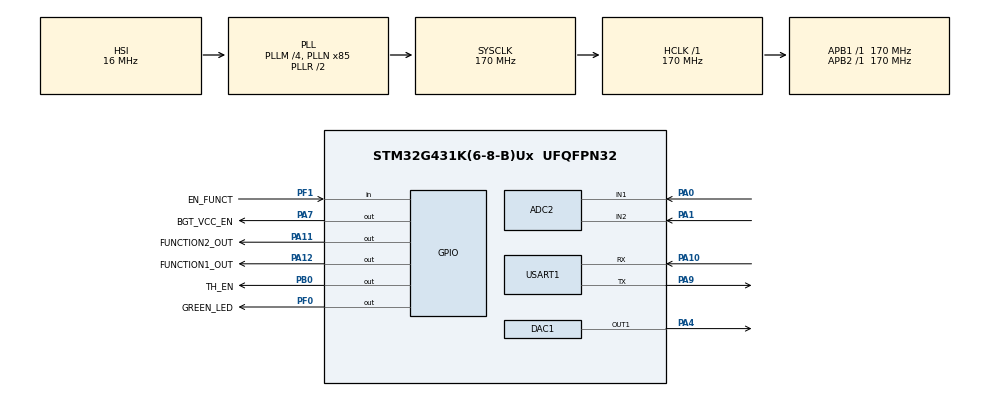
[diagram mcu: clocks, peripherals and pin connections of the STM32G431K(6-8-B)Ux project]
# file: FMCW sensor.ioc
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ADC2.Channel-0\#ChannelRegularConversion=ADC_CHANNEL_1
ADC2.Channel-1\#ChannelRegularConversion=ADC_CHANNEL_2
ADC2.ExternalTrigConv=ADC_EXTERNALTRIG_T7_TRGO
ADC2.NbrOfConversion=2
ADC2.NbrOfConversionFlag=1
ADC2.OffsetNumber-0\#ChannelRegularConversion=ADC_OFFSET_NONE
ADC2.OffsetNumber-1\#ChannelRegularConversion=ADC_OFFSET_NONE
ADC2.Rank-0\#ChannelRegularConversion=1
ADC2.Rank-1\#ChannelRegularConversion=2
ADC2.SamplingTime-0\#ChannelRegularConversion=ADC_SAMPLETIME_2CYCLES_5
ADC2.SamplingTime-1\#ChannelRegularConversion=ADC_SAMPLETIME_2CYCLES_5
DAC1.DAC_Trigger_OUT1-DAC_OUT1=DAC_TRIGGER_T6_TRGO
Dma.ADC2.1.Direction=DMA_PERIPH_TO_MEMORY
Dma.ADC2.1.EventEnable=DISABLE
Dma.ADC2.1.Instance=DMA1_Channel2
Dma.ADC2.1.MemDataAlignment=DMA_MDATAALIGN_HALFWORD
Dma.ADC2.1.MemInc=DMA_MINC_ENABLE
Dma.ADC2.1.Mode=DMA_CIRCULAR
Dma.ADC2.1.PeriphDataAlignment=DMA_PDATAALIGN_HALFWORD
Dma.ADC2.1.PeriphInc=DMA_PINC_DISABLE
Dma.ADC2.1.Polarity=HAL_DMAMUX_REQ_GEN_RISING
Dma.ADC2.1.Priority=DMA_PRIORITY_LOW
Dma.ADC2.1.RequestNumber=1
Dma.ADC2.1.SignalID=NONE
Dma.ADC2.1.SyncEnable=DISABLE
Dma.ADC2.1.SyncPolarity=HAL_DMAMUX_SYNC_NO_EVENT
Dma.ADC2.1.SyncRequestNumber=1
Dma.ADC2.1.SyncSignalID=NONE
Dma.DAC1_CH1.0.Direction=DMA_MEMORY_TO_PERIPH
Dma.DAC1_CH1.0.EventEnable=DISABLE
Dma.DAC1_CH1.0.Instance=DMA1_Channel1
Dma.DAC1_CH1.0.MemDataAlignment=DMA_MDATAALIGN_WORD
Dma.DAC1_CH1.0.MemInc=DMA_MINC_ENABLE
Dma.DAC1_CH1.0.Mode=DMA_CIRCULAR
Dma.DAC1_CH1.0.PeriphDataAlignment=DMA_PDATAALIGN_WORD
Dma.DAC1_CH1.0.PeriphInc=DMA_PINC_DISABLE
Dma.DAC1_CH1.0.Polarity=HAL_DMAMUX_REQ_GEN_RISING
Dma.DAC1_CH1.0.Priority=DMA_PRIORITY_LOW
Dma.DAC1_CH1.0.RequestNumber=1
Dma.DAC1_CH1.0.SignalID=NONE
Dma.DAC1_CH1.0.SyncEnable=DISABLE
Dma.DAC1_CH1.0.SyncPolarity=HAL_DMAMUX_SYNC_NO_EVENT
Dma.DAC1_CH1.0.SyncRequestNumber=1
Dma.DAC1_CH1.0.SyncSignalID=NONE
Dma.Request0=DAC1_CH1
Dma.Request1=ADC2
Mcu.Family=STM32G4
Mcu.Name=STM32G431K(6-8-B)Ux
Mcu.Package=UFQFPN32
NVIC.DMA1_Channel1_IRQn=true\:0\:0\:false\:false\:true\:false\:true\:true
NVIC.DMA1_Channel2_IRQn=true\:0\:0\:false\:false\:true\:false\:true\:true
NVIC.PriorityGroup=NVIC_PRIORITYGROUP_4
NVIC.TIM1_CC_IRQn=true\:0\:0\:false\:false\:true\:true\:true\:true
PA0.Mode=IN1-Single-Ended
PA0.Signal=ADC2_IN1
PA1.Mode=IN2-Single-Ended
PA1.Signal=ADC2_IN2
PA10.Mode=Asynchronous
PA10.Signal=USART1_RX
PA11.GPIO_Label=FUNCTION2_OUT
PA11.Signal=GPIO_Output
PA12.GPIO_Label=FUNCTION1_OUT
PA12.Signal=GPIO_Output
PA13.Mode=Trace_Asynchronous_SW
PA13.Signal=SYS_JTMS-SWDIO
PA14.Mode=Trace_Asynchronous_SW
PA14.Signal=SYS_JTCK-SWCLK
PA4.Signal=COMP_DAC11_group
PA7.GPIO_Label=BGT_VCC_EN
PA7.PinState=GPIO_PIN_SET
PA7.Signal=GPIO_Output
PA9.Mode=Asynchronous
PA9.Signal=USART1_TX
PB0.GPIO_Label=TH_EN
PB0.Signal=GPIO_Output
PB3.Mode=Trace_Asynchronous_SW
PB3.Signal=SYS_JTDO-SWO
PF0-OSC_IN.GPIO_Label=GREEN_LED
PF0-OSC_IN.Signal=GPIO_Output
PF1-OSC_OUT.GPIO_Label=EN_FUNCT
PF1-OSC_OUT.Signal=GPIO_Input
ProjectManager.HeapSize=0x200
ProjectManager.StackSize=0x400
ProjectManager.TargetToolchain=STM32CubeIDE
RCC.ADC12Freq_Value=170000000
RCC.AHBFreq_Value=170000000
RCC.APB1Freq_Value=170000000
RCC.APB1TimFreq_Value=170000000
RCC.APB2Freq_Value=170000000
RCC.APB2TimFreq_Value=170000000
RCC.CortexFreq_Value=170000000
RCC.EXTERNAL_CLOCK_VALUE=12288000
RCC.HCLKFreq_Value=170000000
RCC.HSE_VALUE=8000000
RCC.HSI48_VALUE=48000000
RCC.HSI_VALUE=16000000
RCC.LSE_VALUE=32768
RCC.PLLM=RCC_PLLM_DIV4
RCC.PLLN=85
RCC.SYSCLKFreq_VALUE=170000000
RCC.SYSCLKSource=RCC_SYSCLKSOURCE_PLLCLK
RCC.USBFreq_Value=170000000
RCC.VCOOutputFreq_Value=340000000
SH.COMP_DAC11_group.0=DAC1_OUT1,DAC_OUT1
TIM1.Channel-PWM\ Generation1\ No\ Output=TIM_CHANNEL_1
TIM1.Channel-PWM\ Generation2\ No\ Output=TIM_CHANNEL_2
TIM1.PeriodNoDither=500
TIM1.Prescaler=169
TIM1.PulseNoDither_1=20
TIM1.PulseNoDither_2=100
TIM6.PeriodNoDither=2
TIM6.Prescaler=84
TIM6.TIM_MasterOutputTrigger=TIM_TRGO_UPDATE
TIM7.PeriodNoDither=2
TIM7.Prescaler=84
TIM7.TIM_MasterOutputTrigger=TIM_TRGO_UPDATE
USART1.VirtualMode-Asynchronous=VM_ASYNC
VP_SYS_VS_DBSignals.Mode=DisableDeadBatterySignals
VP_TIM1_VS_ClockSourceINT.Mode=Internal
VP_TIM1_VS_no_output1.Mode=PWM Generation1 No Output
VP_TIM1_VS_no_output2.Mode=PWM Generation2 No Output
VP_TIM6_VS_ClockSourceINT.Mode=Enable_Timer
VP_TIM7_VS_ClockSourceINT.Mode=Enable_Timer
board=custom

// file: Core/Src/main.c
/* USER CODE BEGIN Header */
/**
  ******************************************************************************
  * @file           : main.c
  * @brief          : Main program body
  ******************************************************************************
  * @attention
  *
  * Copyright (c) 2024 STMicroelectronics.
  * All rights reserved.
  *
  * This software is licensed under terms that can be found in the LICENSE file
  * in the root directory of this software component.
  * If no LICENSE file comes with this software, it is provided AS-IS.
  *
  ******************************************************************************
  */
/* USER CODE END Header */
#include "main.h"

/* USER CODE BEGIN Includes */

#define ARM_MATH_CM4 //Core we're operating on
#include "arm_math.h"

/* USER CODE END Includes */

/* USER CODE BEGIN PM */

#define DAC_BUFFER_LEN 		 				 128  // DAC_BUFFLEN in micro seconds                             200
#define DAC_SLOPE_VALUE 	 				   30  //                                                         //1
#define DAC_SLOPE_START_VALUE				450	  //(DAC_SLOPE_START_VALUE+DAC_BUFFLEN*DAC_SLOPE_VALUE)<4096  //850
#define ADC_SAMPLES							128

/* USER CODE END PM */

ADC_HandleTypeDef hadc2;
DMA_HandleTypeDef hdma_adc2;

DAC_HandleTypeDef hdac1;
DMA_HandleTypeDef hdma_dac1_ch1;

TIM_HandleTypeDef htim1;
TIM_HandleTypeDef htim6;
TIM_HandleTypeDef htim7;

UART_HandleTypeDef huart1;

/* USER CODE BEGIN PV */

uint8_t fftFlag = 0; //Flag for when the transformation is complete
uint8_t do_fft = 0; //Flag for when ADC has new data for us to read

volatile uint32_t dac_data[DAC_BUFFER_LEN]; //Values for different voltages in the slope of the sawtooth voltage
volatile uint16_t adcBuffer[ADC_SAMPLES + 16]; //Array of ADC data

/* USER CODE END PV */

void SystemClock_Config(void);
static void MX_GPIO_Init(void);
static void MX_DMA_Init(void);
static void MX_ADC2_Init(void);
static void MX_DAC1_Init(void);
static void MX_USART1_UART_Init(void);
static void MX_TIM1_Init(void);
static void MX_TIM6_Init(void);
static void MX_TIM7_Init(void);
/* USER CODE BEGIN PFP */

void DAC_Slope_Init(void);  //Creates an array of steps to use later for the sawtooth voltage

/* USER CODE END PFP */

int main(void)
{

  /* MCU Configuration--------------------------------------------------------*/

  /* Reset of all peripherals, Initializes the Flash interface and the Systick. */
  HAL_Init();

  /* Configure the system clock */
  SystemClock_Config();

  /* Initialize all configured peripherals */
  MX_GPIO_Init();
  MX_DMA_Init();
  MX_ADC2_Init();
  MX_DAC1_Init();
  MX_USART1_UART_Init();
  MX_TIM1_Init();
  MX_TIM6_Init();
  MX_TIM7_Init();
  /* USER CODE BEGIN 2 */
  for(int16_t i; i < DAC_BUFFER_LEN; i++){
    			dac_data[i] = DAC_SLOPE_START_VALUE + i * DAC_SLOPE_VALUE;
   }
  HAL_TIM_PWM_Start_IT(&htim1, TIM_CHANNEL_1); //Impulse for DAC sawtooth voltage
  HAL_TIM_PWM_Start_IT(&htim1, TIM_CHANNEL_2); //Impulse for ADC read
  //HAL_TIM_Base_Start(&htim6); //start DAC
  HAL_GPIO_WritePin(BGT_VCC_EN_GPIO_Port, BGT_VCC_EN_Pin, RESET);
  HAL_GPIO_WritePin(TH_EN_GPIO_Port, TH_EN_Pin, SET);
  HAL_DAC_Start_DMA(&hdac1, DAC_CHANNEL_1, (uint32_t *)dac_data, DAC_BUFFER_LEN, DAC_ALIGN_12B_R);
  /* USER CODE END 2 */

  /* Infinite loop */
  /* USER CODE BEGIN WHILE */
  while (1)
  {

	  HAL_Delay(10);
    /* USER CODE END WHILE */

  }
}

void SystemClock_Config(void)
{
  RCC_OscInitTypeDef RCC_OscInitStruct = {0};
  RCC_ClkInitTypeDef RCC_ClkInitStruct = {0};

  /** Configure the main internal regulator output voltage
  */
  HAL_PWREx_ControlVoltageScaling(PWR_REGULATOR_VOLTAGE_SCALE1_BOOST);

  /** Initializes the RCC Oscillators according to the specified parameters
  * in the RCC_OscInitTypeDef structure.
  */
  RCC_OscInitStruct.OscillatorType = RCC_OSCILLATORTYPE_HSI;
  RCC_OscInitStruct.HSIState = RCC_HSI_ON;
  RCC_OscInitStruct.HSICalibrationValue = RCC_HSICALIBRATION_DEFAULT;
  RCC_OscInitStruct.PLL.PLLState = RCC_PLL_ON;
  RCC_OscInitStruct.PLL.PLLSource = RCC_PLLSOURCE_HSI;
  RCC_OscInitStruct.PLL.PLLM = RCC_PLLM_DIV4;
  RCC_OscInitStruct.PLL.PLLN = 85;
  RCC_OscInitStruct.PLL.PLLP = RCC_PLLP_DIV2;
  RCC_OscInitStruct.PLL.PLLQ = RCC_PLLQ_DIV2;
  RCC_OscInitStruct.PLL.PLLR = RCC_PLLR_DIV2;
  if (HAL_RCC_OscConfig(&RCC_OscInitStruct) != HAL_OK)
  {
    Error_Handler();
  }

  /** Initializes the CPU, AHB and APB buses clocks
  */
  RCC_ClkInitStruct.ClockType = RCC_CLOCKTYPE_HCLK|RCC_CLOCKTYPE_SYSCLK
                              |RCC_CLOCKTYPE_PCLK1|RCC_CLOCKTYPE_PCLK2;
  RCC_ClkInitStruct.SYSCLKSource = RCC_SYSCLKSOURCE_PLLCLK;
  RCC_ClkInitStruct.AHBCLKDivider = RCC_SYSCLK_DIV1;
  RCC_ClkInitStruct.APB1CLKDivider = RCC_HCLK_DIV1;
  RCC_ClkInitStruct.APB2CLKDivider = RCC_HCLK_DIV1;

  if (HAL_RCC_ClockConfig(&RCC_ClkInitStruct, FLASH_LATENCY_4) != HAL_OK)
  {
    Error_Handler();
  }
}

static void MX_ADC2_Init(void)
{

  ADC_ChannelConfTypeDef sConfig = {0};

  /** Common config
  */
  hadc2.Instance = ADC2;
  hadc2.Init.ClockPrescaler = ADC_CLOCK_SYNC_PCLK_DIV4;
  hadc2.Init.Resolution = ADC_RESOLUTION_12B;
  hadc2.Init.DataAlign = ADC_DATAALIGN_RIGHT;
  hadc2.Init.GainCompensation = 0;
  hadc2.Init.ScanConvMode = ADC_SCAN_ENABLE;
  hadc2.Init.EOCSelection = ADC_EOC_SINGLE_CONV;
  hadc2.Init.LowPowerAutoWait = DISABLE;
  hadc2.Init.ContinuousConvMode = DISABLE;
  hadc2.Init.NbrOfConversion = 2;
  hadc2.Init.DiscontinuousConvMode = DISABLE;
  hadc2.Init.ExternalTrigConv = ADC_EXTERNALTRIG_T7_TRGO;
  hadc2.Init.ExternalTrigConvEdge = ADC_EXTERNALTRIGCONVEDGE_RISING;
  hadc2.Init.DMAContinuousRequests = DISABLE;
  hadc2.Init.Overrun = ADC_OVR_DATA_PRESERVED;
  hadc2.Init.OversamplingMode = DISABLE;
  if (HAL_ADC_Init(&hadc2) != HAL_OK)
  {
    Error_Handler();
  }

  /** Configure Regular Channel
  */
  sConfig.Channel = ADC_CHANNEL_1;
  sConfig.Rank = ADC_REGULAR_RANK_1;
  sConfig.SamplingTime = ADC_SAMPLETIME_2CYCLES_5;
  sConfig.SingleDiff = ADC_SINGLE_ENDED;
  sConfig.OffsetNumber = ADC_OFFSET_NONE;
  sConfig.Offset = 0;
  if (HAL_ADC_ConfigChannel(&hadc2, &sConfig) != HAL_OK)
  {
    Error_Handler();
  }

  /** Configure Regular Channel
  */
  sConfig.Channel = ADC_CHANNEL_2;
  sConfig.Rank = ADC_REGULAR_RANK_2;
  if (HAL_ADC_ConfigChannel(&hadc2, &sConfig) != HAL_OK)
  {
    Error_Handler();
  }

}

static void MX_DAC1_Init(void)
{

  DAC_ChannelConfTypeDef sConfig = {0};

  /** DAC Initialization
  */
  hdac1.Instance = DAC1;
  if (HAL_DAC_Init(&hdac1) != HAL_OK)
  {
    Error_Handler();
  }

  /** DAC channel OUT1 config
  */
  sConfig.DAC_HighFrequency = DAC_HIGH_FREQUENCY_INTERFACE_MODE_AUTOMATIC;
  sConfig.DAC_DMADoubleDataMode = DISABLE;
  sConfig.DAC_SignedFormat = DISABLE;
  sConfig.DAC_SampleAndHold = DAC_SAMPLEANDHOLD_DISABLE;
  sConfig.DAC_Trigger = DAC_TRIGGER_T6_TRGO;
  sConfig.DAC_Trigger2 = DAC_TRIGGER_NONE;
  sConfig.DAC_OutputBuffer = DAC_OUTPUTBUFFER_ENABLE;
  sConfig.DAC_ConnectOnChipPeripheral = DAC_CHIPCONNECT_EXTERNAL;
  sConfig.DAC_UserTrimming = DAC_TRIMMING_FACTORY;
  if (HAL_DAC_ConfigChannel(&hdac1, &sConfig, DAC_CHANNEL_1) != HAL_OK)
  {
    Error_Handler();
  }

}

static void MX_TIM1_Init(void)
{

  TIM_ClockConfigTypeDef sClockSourceConfig = {0};
  TIM_MasterConfigTypeDef sMasterConfig = {0};
  TIM_OC_InitTypeDef sConfigOC = {0};
  TIM_BreakDeadTimeConfigTypeDef sBreakDeadTimeConfig = {0};

  htim1.Instance = TIM1;
  htim1.Init.Prescaler = 169;
  htim1.Init.CounterMode = TIM_COUNTERMODE_UP;
  htim1.Init.Period = 500;
  htim1.Init.ClockDivision = TIM_CLOCKDIVISION_DIV1;
  htim1.Init.RepetitionCounter = 0;
  htim1.Init.AutoReloadPreload = TIM_AUTORELOAD_PRELOAD_DISABLE;
  if (HAL_TIM_Base_Init(&htim1) != HAL_OK)
  {
    Error_Handler();
  }
  sClockSourceConfig.ClockSource = TIM_CLOCKSOURCE_INTERNAL;
  if (HAL_TIM_ConfigClockSource(&htim1, &sClockSourceConfig) != HAL_OK)
  {
    Error_Handler();
  }
  if (HAL_TIM_PWM_Init(&htim1) != HAL_OK)
  {
    Error_Handler();
  }
  sMasterConfig.MasterOutputTrigger = TIM_TRGO_RESET;
  sMasterConfig.MasterOutputTrigger2 = TIM_TRGO2_RESET;
  sMasterConfig.MasterSlaveMode = TIM_MASTERSLAVEMODE_DISABLE;
  if (HAL_TIMEx_MasterConfigSynchronization(&htim1, &sMasterConfig) != HAL_OK)
  {
    Error_Handler();
  }
  sConfigOC.OCMode = TIM_OCMODE_PWM1;
  sConfigOC.Pulse = 20;
  sConfigOC.OCPolarity = TIM_OCPOLARITY_HIGH;
  sConfigOC.OCNPolarity = TIM_OCNPOLARITY_HIGH;
  sConfigOC.OCFastMode = TIM_OCFAST_DISABLE;
  sConfigOC.OCIdleState = TIM_OCIDLESTATE_RESET;
  sConfigOC.OCNIdleState = TIM_OCNIDLESTATE_RESET;
  if (HAL_TIM_PWM_ConfigChannel(&htim1, &sConfigOC, TIM_CHANNEL_1) != HAL_OK)
  {
    Error_Handler();
  }
  sConfigOC.Pulse = 100;
  if (HAL_TIM_PWM_ConfigChannel(&htim1, &sConfigOC, TIM_CHANNEL_2) != HAL_OK)
  {
    Error_Handler();
  }
  sBreakDeadTimeConfig.OffStateRunMode = TIM_OSSR_DISABLE;
  sBreakDeadTimeConfig.OffStateIDLEMode = TIM_OSSI_DISABLE;
  sBreakDeadTimeConfig.LockLevel = TIM_LOCKLEVEL_OFF;
  sBreakDeadTimeConfig.DeadTime = 0;
  sBreakDeadTimeConfig.BreakState = TIM_BREAK_DISABLE;
  sBreakDeadTimeConfig.BreakPolarity = TIM_BREAKPOLARITY_HIGH;
  sBreakDeadTimeConfig.BreakFilter = 0;
  sBreakDeadTimeConfig.BreakAFMode = TIM_BREAK_AFMODE_INPUT;
  sBreakDeadTimeConfig.Break2State = TIM_BREAK2_DISABLE;
  sBreakDeadTimeConfig.Break2Polarity = TIM_BREAK2POLARITY_HIGH;
  sBreakDeadTimeConfig.Break2Filter = 0;
  sBreakDeadTimeConfig.Break2AFMode = TIM_BREAK_AFMODE_INPUT;
  sBreakDeadTimeConfig.AutomaticOutput = TIM_AUTOMATICOUTPUT_DISABLE;
  if (HAL_TIMEx_ConfigBreakDeadTime(&htim1, &sBreakDeadTimeConfig) != HAL_OK)
  {
    Error_Handler();
  }

}

static void MX_TIM6_Init(void)
{

  TIM_MasterConfigTypeDef sMasterConfig = {0};

  htim6.Instance = TIM6;
  htim6.Init.Prescaler = 84;
  htim6.Init.CounterMode = TIM_COUNTERMODE_UP;
  htim6.Init.Period = 2;
  htim6.Init.AutoReloadPreload = TIM_AUTORELOAD_PRELOAD_DISABLE;
  if (HAL_TIM_Base_Init(&htim6) != HAL_OK)
  {
    Error_Handler();
  }
  sMasterConfig.MasterOutputTrigger = TIM_TRGO_UPDATE;
  sMasterConfig.MasterSlaveMode = TIM_MASTERSLAVEMODE_DISABLE;
  if (HAL_TIMEx_MasterConfigSynchronization(&htim6, &sMasterConfig) != HAL_OK)
  {
    Error_Handler();
  }

}

static void MX_TIM7_Init(void)
{

  TIM_MasterConfigTypeDef sMasterConfig = {0};

  htim7.Instance = TIM7;
  htim7.Init.Prescaler = 84;
  htim7.Init.CounterMode = TIM_COUNTERMODE_UP;
  htim7.Init.Period = 2;
  htim7.Init.AutoReloadPreload = TIM_AUTORELOAD_PRELOAD_DISABLE;
  if (HAL_TIM_Base_Init(&htim7) != HAL_OK)
  {
    Error_Handler();
  }
  sMasterConfig.MasterOutputTrigger = TIM_TRGO_UPDATE;
  sMasterConfig.MasterSlaveMode = TIM_MASTERSLAVEMODE_DISABLE;
  if (HAL_TIMEx_MasterConfigSynchronization(&htim7, &sMasterConfig) != HAL_OK)
  {
    Error_Handler();
  }

}

static void MX_USART1_UART_Init(void)
{

  huart1.Instance = USART1;
  huart1.Init.BaudRate = 115200;
  huart1.Init.WordLength = UART_WORDLENGTH_8B;
  huart1.Init.StopBits = UART_STOPBITS_1;
  huart1.Init.Parity = UART_PARITY_NONE;
  huart1.Init.Mode = UART_MODE_TX_RX;
  huart1.Init.HwFlowCtl = UART_HWCONTROL_NONE;
  huart1.Init.OverSampling = UART_OVERSAMPLING_16;
  huart1.Init.OneBitSampling = UART_ONE_BIT_SAMPLE_DISABLE;
  huart1.Init.ClockPrescaler = UART_PRESCALER_DIV1;
  huart1.AdvancedInit.AdvFeatureInit = UART_ADVFEATURE_NO_INIT;
  if (HAL_UART_Init(&huart1) != HAL_OK)
  {
    Error_Handler();
  }
  if (HAL_UARTEx_SetTxFifoThreshold(&huart1, UART_TXFIFO_THRESHOLD_1_8) != HAL_OK)
  {
    Error_Handler();
  }
  if (HAL_UARTEx_SetRxFifoThreshold(&huart1, UART_RXFIFO_THRESHOLD_1_8) != HAL_OK)
  {
    Error_Handler();
  }
  if (HAL_UARTEx_DisableFifoMode(&huart1) != HAL_OK)
  {
    Error_Handler();
  }

}

static void MX_DMA_Init(void)
{

  /* DMA controller clock enable */
  __HAL_RCC_DMAMUX1_CLK_ENABLE();
  __HAL_RCC_DMA1_CLK_ENABLE();

  /* DMA interrupt init */
  /* DMA1_Channel1_IRQn interrupt configuration */
  HAL_NVIC_SetPriority(DMA1_Channel1_IRQn, 0, 0);
  HAL_NVIC_EnableIRQ(DMA1_Channel1_IRQn);
  /* DMA1_Channel2_IRQn interrupt configuration */
  HAL_NVIC_SetPriority(DMA1_Channel2_IRQn, 0, 0);
  HAL_NVIC_EnableIRQ(DMA1_Channel2_IRQn);

}

static void MX_GPIO_Init(void)
{
  GPIO_InitTypeDef GPIO_InitStruct = {0};

  /* GPIO Ports Clock Enable */
  __HAL_RCC_GPIOF_CLK_ENABLE();
  __HAL_RCC_GPIOA_CLK_ENABLE();
  __HAL_RCC_GPIOB_CLK_ENABLE();

  /*Configure GPIO pin Output Level */
  HAL_GPIO_WritePin(GREEN_LED_GPIO_Port, GREEN_LED_Pin, GPIO_PIN_RESET);

  /*Configure GPIO pin Output Level */
  HAL_GPIO_WritePin(BGT_VCC_EN_GPIO_Port, BGT_VCC_EN_Pin, GPIO_PIN_SET);

  /*Configure GPIO pin Output Level */
  HAL_GPIO_WritePin(TH_EN_GPIO_Port, TH_EN_Pin, GPIO_PIN_RESET);

  /*Configure GPIO pin Output Level */
  HAL_GPIO_WritePin(GPIOA, FUNCTION2_OUT_Pin|FUNCTION1_OUT_Pin, GPIO_PIN_RESET);

  /*Configure GPIO pin : GREEN_LED_Pin */
  GPIO_InitStruct.Pin = GREEN_LED_Pin;
  GPIO_InitStruct.Mode = GPIO_MODE_OUTPUT_PP;
  GPIO_InitStruct.Pull = GPIO_NOPULL;
  GPIO_InitStruct.Speed = GPIO_SPEED_FREQ_LOW;
  HAL_GPIO_Init(GREEN_LED_GPIO_Port, &GPIO_InitStruct);

  /*Configure GPIO pin : EN_FUNCT_Pin */
  GPIO_InitStruct.Pin = EN_FUNCT_Pin;
  GPIO_InitStruct.Mode = GPIO_MODE_INPUT;
  GPIO_InitStruct.Pull = GPIO_NOPULL;
  HAL_GPIO_Init(EN_FUNCT_GPIO_Port, &GPIO_InitStruct);

  /*Configure GPIO pins : BGT_VCC_EN_Pin FUNCTION2_OUT_Pin FUNCTION1_OUT_Pin */
  GPIO_InitStruct.Pin = BGT_VCC_EN_Pin|FUNCTION2_OUT_Pin|FUNCTION1_OUT_Pin;
  GPIO_InitStruct.Mode = GPIO_MODE_OUTPUT_PP;
  GPIO_InitStruct.Pull = GPIO_NOPULL;
  GPIO_InitStruct.Speed = GPIO_SPEED_FREQ_LOW;
  HAL_GPIO_Init(GPIOA, &GPIO_InitStruct);

  /*Configure GPIO pin : TH_EN_Pin */
  GPIO_InitStruct.Pin = TH_EN_Pin;
  GPIO_InitStruct.Mode = GPIO_MODE_OUTPUT_PP;
  GPIO_InitStruct.Pull = GPIO_NOPULL;
  GPIO_InitStruct.Speed = GPIO_SPEED_FREQ_LOW;
  HAL_GPIO_Init(TH_EN_GPIO_Port, &GPIO_InitStruct);

}

/* USER CODE BEGIN 4 */

	void HAL_TIM_PWM_PulseFinishedCallback(TIM_HandleTypeDef *htim1){

		 if(htim1->Channel == HAL_TIM_ACTIVE_CHANNEL_1) // Start generating sawtooth voltage
		 {

			HAL_GPIO_WritePin(GREEN_LED_GPIO_Port, GREEN_LED_Pin, SET); //breakpoint test
			HAL_TIM_Base_Start(&htim6); //start DAC timer

		 }

		 if(htim1->Channel == HAL_TIM_ACTIVE_CHANNEL_2) // Start reading ADC a bit later
		 {
            HAL_ADC_Start_DMA(&hadc2, (uint32_t *)&adcBuffer, (ADC_SAMPLES+2)); // Reading from ADC and writing in buffer
	        HAL_TIM_Base_Start(&htim7); //start ADC timer
	 	 	//HAL_GPIO_WritePin(GREEN_LED_GPIO_Port, GREEN_LED_Pin,RESET);

		 }
	}

	/* Set the DAC DMA transfer complete callback */
	void HAL_DAC_ConvCpltCallbackCh1(DAC_HandleTypeDef *hdac1){  //Stop generating sawtooth voltage

		 	HAL_TIM_Base_Stop(&htim6);

	}

	/* Set the ADC DMA transfer complete callback */
	void HAL_ADC_ConvCpltCallback(ADC_HandleTypeDef *hadc2){  // Stop reading ADC

		 HAL_TIM_Base_Stop(&htim7);

	}

/* USER CODE END 4 */

void Error_Handler(void)
{
  __disable_irq();
  while (1)
  {
  }
}
